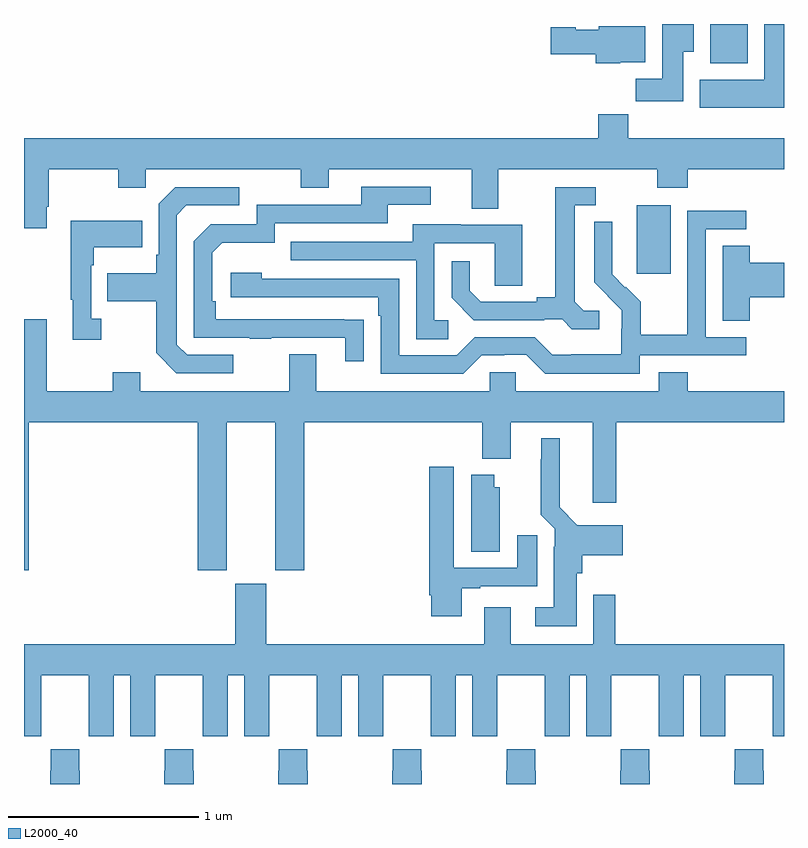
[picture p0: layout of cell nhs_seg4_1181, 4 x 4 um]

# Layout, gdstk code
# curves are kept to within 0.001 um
import gdstk
lib = gdstk.Library(unit=1e-6, precision=1e-09)
def R(c, l, rs):  # rectangles x0, y0, x1, y1
    for r in rs: c.add(gdstk.rectangle(r[:2], r[2:], *l))
def P(c, l, *ps):  # polygons
    for p in ps: c.add(gdstk.Polygon(p, *l))
L2000_40 = (2000, 40)

nhs_seg4_1181 = lib.new_cell('nhs_seg4_1181')
R(nhs_seg4_1181, L2000_40, [(174.224,813.585,174.403,813.946), (174.611,814.694,174.808,814.9)])
P(nhs_seg4_1181, L2000_40, [(175,814.9),(174.896,814.9),(174.896,814.606),(174.557,814.606),(174.557,814.46),(175,814.46)],
  [(174.469,814.753),(174.526,814.753),(174.526,814.9),(174.359,814.9),(174.359,814.612),(174.22,814.612),(174.22,814.494),(174.469,814.494)],
  [(174.138,814.7),(174.271,814.7),(174.271,814.888),(174.024,814.888),(174.024,814.87),(173.904,814.87),(173.904,814.883),(173.772,814.883),(173.772,814.741),(174.008,814.741),(174.008,814.694),(174.138,814.694)],
  [(171.121,813.937),(171.129,813.937),(171.129,814.136),(171.496,814.136),(171.496,814.037),(171.642,814.037),(171.642,814.136),(172.456,814.136),(172.456,814.037),(172.603,814.037),(172.603,814.136),(173.357,814.136),(173.357,813.928),(173.497,813.928),(173.497,814.136),(174.334,814.136),(174.334,814.037),(174.494,814.037),(174.494,814.136),(175,814.136),(175,814.3),(174.179,814.3),(174.179,814.424),(174.023,814.424),(174.023,814.3),(171,814.3),(171,813.825),(171.121,813.825)],
  [(172.787,813.344),(172.01,813.345),(172.01,813.442),(171.99,813.442),(171.99,813.696),(172.043,813.749),(172.32,813.749),(172.32,813.852),(172.915,813.852),(172.915,813.948),(173.14,813.948),(173.14,814.044),(172.775,814.044),(172.775,813.948),(172.224,813.948),(172.224,813.846),(171.984,813.846),(171.894,813.756),(171.894,813.249),(172.189,813.249),(172.189,813.244),(172.301,813.244),(172.301,813.249),(172.691,813.249),(172.691,813.126),(172.787,813.126)],
  [(174.028,813.39),(173.946,813.39),(173.899,813.437),(173.899,813.945),(174.01,813.945),(174.01,814.041),(173.795,814.041),(173.795,813.461),(173.699,813.461),(173.699,813.438),(173.404,813.438),(173.347,813.495),(173.347,813.652),(173.25,813.652),(173.25,813.458),(173.366,813.342),(173.738,813.342),(173.738,813.345),(173.832,813.345),(173.884,813.293),(174.028,813.293)],
  [(172.102,813.159),(171.858,813.159),(171.804,813.213),(171.804,813.894),(171.855,813.945),(172.132,813.945),(172.132,814.041),(171.795,814.041),(171.708,813.954),(171.708,813.685),(171.696,813.685),(171.696,813.589),(171.439,813.589),(171.439,813.442),(171.696,813.442),(171.696,813.169),(171.801,813.063),(172.102,813.063)],
  [(174.24,813.156),(174.802,813.156),(174.802,813.252),(174.588,813.252),(174.588,813.819),(174.802,813.819),(174.802,813.918),(174.492,813.918),(174.492,813.488),(174.49,813.488),(174.49,813.265),(174.245,813.265),(174.245,813.439),(174.168,813.516),(174.165,813.513),(174.095,813.584),(174.096,813.86),(174,813.86),(174,813.542),(174.146,813.394),(174.146,813.297),(174.144,813.297),(174.144,813.163),(173.881,813.163),(173.881,813.159),(173.781,813.159),(173.688,813.252),(173.373,813.252),(173.277,813.156),(172.974,813.156),(172.974,813.558),(172.25,813.558),(172.25,813.592),(172.089,813.592),(172.089,813.462),(172.865,813.462),(172.865,813.365),(172.878,813.365),(172.878,813.06),(173.313,813.06),(173.409,813.156),(173.528,813.156),(173.528,813.159),(173.643,813.159),(173.743,813.059),(174.24,813.059)],
  [(171.406,813.35),(171.354,813.35),(171.354,813.629),(171.367,813.629),(171.367,813.725),(171.623,813.725),(171.623,813.865),(171.246,813.865),(171.246,813.449),(171.257,813.449),(171.257,813.237),(171.406,813.237)],
  [(173.233,813.342),(173.16,813.342),(173.16,813.747),(173.478,813.747),(173.478,813.523),(173.623,813.523),(173.623,813.843),(173.299,813.843),(173.299,813.847),(173.045,813.847),(173.045,813.753),(172.405,813.753),(172.405,813.657),(173.064,813.657),(173.064,813.241),(173.233,813.241)],
  [(174.821,813.461),(175,813.461),(175,813.644),(174.821,813.644),(174.821,813.734),(174.677,813.734),(174.677,813.337),(174.821,813.337)],
  [(172.475,812.804),(173.411,812.804),(173.411,812.612),(173.563,812.612),(173.563,812.804),(173.993,812.804),(173.993,812.379),(174.116,812.379),(174.116,812.804),(175,812.804),(175,812.968),(174.494,812.968),(174.494,813.067),(174.341,813.067),(174.341,812.968),(173.589,812.968),(173.589,813.066),(173.451,813.066),(173.451,812.968),(172.537,812.968),(172.537,813.163),(172.397,813.163),(172.397,812.968),(171.613,812.968),(171.613,813.067),(171.466,813.067),(171.466,812.968),(171.121,812.968),(171.121,813.346),(171,813.346),(171,812.025),(171.026,812.025),(171.026,812.804),(171.914,812.804),(171.914,812.025),(172.066,812.025),(172.066,812.804),(172.322,812.804),(172.322,812.025),(172.475,812.025)],
  [(173.908,812.01),(173.939,812.01),(173.939,812.105),(174.151,812.105),(174.151,812.263),(173.913,812.263),(173.821,812.356),(173.821,812.719),(173.723,812.719),(173.723,812.609),(173.719,812.609),(173.719,812.318),(173.793,812.244),(173.793,812.15),(173.789,812.15),(173.789,811.831),(173.691,811.831),(173.691,811.73),(173.908,811.73)],
  [(173.305,811.929),(173.401,811.929),(173.401,811.941),(173.701,811.941),(173.701,812.209),(173.597,812.209),(173.597,812.037),(173.263,812.037),(173.263,812.569),(173.132,812.569),(173.132,811.894),(173.144,811.894),(173.144,811.782),(173.305,811.782)],
  [(173.503,812.463),(173.476,812.463),(173.476,812.527),(173.354,812.527),(173.354,812.122),(173.503,812.122)],
  [(171.09,811.264),(171.091,811.264),(171.091,811.472),(171.341,811.472),(171.341,811.264),(171.342,811.264),(171.342,811.152),(171.472,811.152),(171.472,811.472),(171.56,811.472),(171.56,811.152),(171.69,811.152),(171.69,811.264),(171.691,811.264),(171.691,811.472),(171.941,811.472),(171.941,811.264),(171.942,811.264),(171.942,811.152),(172.072,811.152),(172.072,811.472),(172.16,811.472),(172.16,811.152),(172.29,811.152),(172.29,811.264),(172.291,811.264),(172.291,811.472),(172.541,811.472),(172.541,811.264),(172.542,811.264),(172.542,811.152),(172.672,811.152),(172.672,811.472),(172.76,811.472),(172.76,811.152),(172.89,811.152),(172.89,811.264),(172.891,811.264),(172.891,811.472),(173.141,811.472),(173.141,811.264),(173.142,811.264),(173.142,811.152),(173.272,811.152),(173.272,811.472),(173.36,811.472),(173.36,811.152),(173.49,811.152),(173.49,811.264),(173.491,811.264),(173.491,811.472),(173.741,811.472),(173.741,811.264),(173.742,811.264),(173.742,811.152),(173.872,811.152),(173.872,811.472),(173.96,811.472),(173.96,811.152),(174.09,811.152),(174.09,811.264),(174.091,811.264),(174.091,811.472),(174.341,811.472),(174.341,811.264),(174.342,811.264),(174.342,811.152),(174.472,811.152),(174.472,811.472),(174.56,811.472),(174.56,811.152),(174.69,811.152),(174.69,811.264),(174.691,811.264),(174.691,811.472),(174.941,811.472),(174.941,811.264),(174.942,811.264),(174.942,811.152),(175,811.152),(175,811.636),(174.113,811.636),(174.113,811.897),(173.997,811.897),(173.997,811.636),(173.563,811.636),(173.563,811.831),(173.423,811.831),(173.423,811.636),(172.276,811.636),(172.276,811.953),(172.112,811.953),(172.112,811.636),(171,811.636),(171,811.152),(171.09,811.152)],
  [(172.494,810.971),(172.491,810.971),(172.491,811.084),(172.341,811.084),(172.341,810.971),(172.339,810.971),(172.339,810.9),(172.494,810.9)],
  [(173.094,810.971),(173.091,810.971),(173.091,811.084),(172.941,811.084),(172.941,810.971),(172.939,810.971),(172.939,810.9),(173.094,810.9)],
  [(173.694,810.971),(173.691,810.971),(173.691,811.084),(173.541,811.084),(173.541,810.971),(173.539,810.971),(173.539,810.9),(173.694,810.9)],
  [(174.294,810.971),(174.291,810.971),(174.291,811.084),(174.141,811.084),(174.141,810.971),(174.139,810.971),(174.139,810.9),(174.294,810.9)],
  [(174.894,810.971),(174.891,810.971),(174.891,811.084),(174.741,811.084),(174.741,810.971),(174.739,810.971),(174.739,810.9),(174.894,810.9)],
  [(171.894,810.971),(171.891,810.971),(171.891,811.084),(171.741,811.084),(171.741,810.971),(171.739,810.971),(171.739,810.9),(171.894,810.9)],
  [(171.294,810.971),(171.291,810.971),(171.291,811.084),(171.141,811.084),(171.141,810.971),(171.139,810.971),(171.139,810.9),(171.294,810.9)])

lib.write_gds('nhs_seg4_1181.gds')
